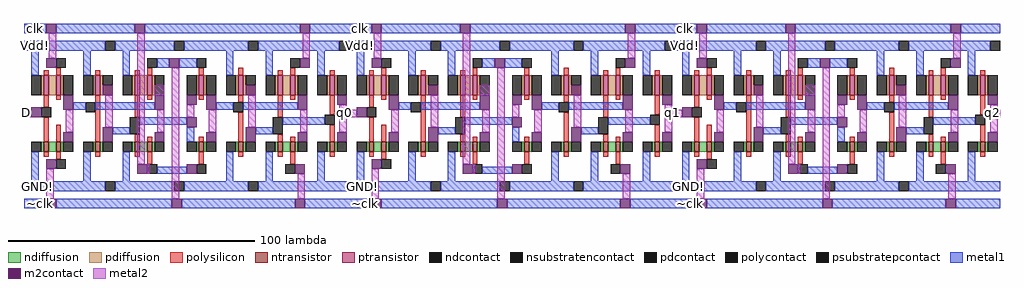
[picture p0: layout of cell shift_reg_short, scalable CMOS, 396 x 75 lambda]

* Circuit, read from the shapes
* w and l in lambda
.subckt shift_reg_short D GND! Vdd! clk q0 q1 q2 ~clk
M1 n1 D GND! GND! nfet w=4 l=2
M2 n2 ~clk n1 GND! nfet w=4 l=2
M3 n3 n2 GND! GND! nfet w=4 l=2
M4 n4 n3 GND! GND! nfet w=4 l=2
M5 n2 clk n4 GND! nfet w=4 l=2
M6 n5 clk n3 GND! nfet w=4 l=2
M7 n6 n5 GND! GND! nfet w=4 l=2
M8 n7 n6 GND! GND! nfet w=4 l=2
M9 n5 ~clk n7 GND! nfet w=4 l=2
M10 q0 n6 GND! GND! nfet w=4 l=2
M11 n8 q0 GND! GND! nfet w=4 l=2
M12 n9 ~clk n8 GND! nfet w=4 l=2
M13 n10 n9 GND! GND! nfet w=4 l=2
M14 n11 n10 GND! GND! nfet w=4 l=2
M15 n9 clk n11 GND! nfet w=4 l=2
M16 n12 clk n10 GND! nfet w=4 l=2
M17 n13 n12 GND! GND! nfet w=4 l=2
M18 n14 n13 GND! GND! nfet w=4 l=2
M19 n12 ~clk n14 GND! nfet w=4 l=2
M20 q1 n13 GND! GND! nfet w=4 l=2
M21 n15 q1 GND! GND! nfet w=4 l=2
M22 n16 ~clk n15 GND! nfet w=4 l=2
M23 n17 n16 GND! GND! nfet w=4 l=2
M24 n18 n17 GND! GND! nfet w=4 l=2
M25 n16 clk n18 GND! nfet w=4 l=2
M26 n19 clk n17 GND! nfet w=4 l=2
M27 n20 n19 GND! GND! nfet w=4 l=2
M28 n21 n20 GND! GND! nfet w=4 l=2
M29 n19 ~clk n21 GND! nfet w=4 l=2
M30 q2 n20 GND! GND! nfet w=4 l=2
M31 n22 D Vdd! Vdd! pfet w=8 l=2
M32 n2 clk n22 Vdd! pfet w=8 l=2
M33 n3 n2 Vdd! Vdd! pfet w=8 l=2
M34 n23 n3 Vdd! Vdd! pfet w=8 l=2
M35 n2 ~clk n23 Vdd! pfet w=8 l=2
M36 n5 ~clk n3 Vdd! pfet w=8 l=2
M37 n6 n5 Vdd! Vdd! pfet w=8 l=2
M38 n24 n6 Vdd! Vdd! pfet w=8 l=2
M39 n5 clk n24 Vdd! pfet w=8 l=2
M40 q0 n6 Vdd! Vdd! pfet w=8 l=2
M41 n25 q0 Vdd! Vdd! pfet w=8 l=2
M42 n9 clk n25 Vdd! pfet w=8 l=2
M43 n10 n9 Vdd! Vdd! pfet w=8 l=2
M44 n26 n10 Vdd! Vdd! pfet w=8 l=2
M45 n9 ~clk n26 Vdd! pfet w=8 l=2
M46 n12 ~clk n10 Vdd! pfet w=8 l=2
M47 n13 n12 Vdd! Vdd! pfet w=8 l=2
M48 n27 n13 Vdd! Vdd! pfet w=8 l=2
M49 n12 clk n27 Vdd! pfet w=8 l=2
M50 q1 n13 Vdd! Vdd! pfet w=8 l=2
M51 n28 q1 Vdd! Vdd! pfet w=8 l=2
M52 n16 clk n28 Vdd! pfet w=8 l=2
M53 n17 n16 Vdd! Vdd! pfet w=8 l=2
M54 n29 n17 Vdd! Vdd! pfet w=8 l=2
M55 n16 ~clk n29 Vdd! pfet w=8 l=2
M56 n19 ~clk n17 Vdd! pfet w=8 l=2
M57 n20 n19 Vdd! Vdd! pfet w=8 l=2
M58 n30 n20 Vdd! Vdd! pfet w=8 l=2
M59 n19 clk n30 Vdd! pfet w=8 l=2
M60 q2 n20 Vdd! Vdd! pfet w=8 l=2
.ends

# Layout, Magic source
magic
tech scmos
<< ntransistor >>
rect 101 191 103 195
rect 106 191 108 195
rect 122 191 124 195
rect 138 191 140 195
rect 143 191 145 195
rect 164 191 166 195
rect 180 191 182 195
rect 196 191 198 195
rect 201 191 203 195
rect 217 191 219 195
rect 233 191 235 195
rect 238 191 240 195
rect 254 191 256 195
rect 270 191 272 195
rect 275 191 277 195
rect 296 191 298 195
rect 312 191 314 195
rect 328 191 330 195
rect 333 191 335 195
rect 349 191 351 195
rect 365 191 367 195
rect 370 191 372 195
rect 386 191 388 195
rect 402 191 404 195
rect 407 191 409 195
rect 428 191 430 195
rect 444 191 446 195
rect 460 191 462 195
rect 465 191 467 195
rect 481 191 483 195
<< ptransistor >>
rect 101 214 103 222
rect 106 214 108 222
rect 122 214 124 222
rect 138 214 140 222
rect 143 214 145 222
rect 164 214 166 222
rect 180 214 182 222
rect 196 214 198 222
rect 201 214 203 222
rect 217 214 219 222
rect 233 214 235 222
rect 238 214 240 222
rect 254 214 256 222
rect 270 214 272 222
rect 275 214 277 222
rect 296 214 298 222
rect 312 214 314 222
rect 328 214 330 222
rect 333 214 335 222
rect 349 214 351 222
rect 365 214 367 222
rect 370 214 372 222
rect 386 214 388 222
rect 402 214 404 222
rect 407 214 409 222
rect 428 214 430 222
rect 444 214 446 222
rect 460 214 462 222
rect 465 214 467 222
rect 481 214 483 222
<< ndiffusion >>
rect 100 191 101 195
rect 103 191 106 195
rect 108 191 109 195
rect 121 191 122 195
rect 124 191 125 195
rect 137 191 138 195
rect 140 191 143 195
rect 145 191 146 195
rect 163 191 164 195
rect 166 191 167 195
rect 179 191 180 195
rect 182 191 183 195
rect 195 191 196 195
rect 198 191 201 195
rect 203 191 204 195
rect 216 191 217 195
rect 219 191 220 195
rect 232 191 233 195
rect 235 191 238 195
rect 240 191 241 195
rect 253 191 254 195
rect 256 191 257 195
rect 269 191 270 195
rect 272 191 275 195
rect 277 191 278 195
rect 295 191 296 195
rect 298 191 299 195
rect 311 191 312 195
rect 314 191 315 195
rect 327 191 328 195
rect 330 191 333 195
rect 335 191 336 195
rect 348 191 349 195
rect 351 191 352 195
rect 364 191 365 195
rect 367 191 370 195
rect 372 191 373 195
rect 385 191 386 195
rect 388 191 389 195
rect 401 191 402 195
rect 404 191 407 195
rect 409 191 410 195
rect 427 191 428 195
rect 430 191 431 195
rect 443 191 444 195
rect 446 191 447 195
rect 459 191 460 195
rect 462 191 465 195
rect 467 191 468 195
rect 480 191 481 195
rect 483 191 484 195
<< pdiffusion >>
rect 100 214 101 222
rect 103 214 106 222
rect 108 214 109 222
rect 121 214 122 222
rect 124 218 125 222
rect 124 214 129 218
rect 137 214 138 222
rect 140 214 143 222
rect 145 214 146 222
rect 163 214 164 222
rect 166 214 167 222
rect 179 214 180 222
rect 182 218 183 222
rect 182 214 187 218
rect 195 214 196 222
rect 198 214 201 222
rect 203 214 204 222
rect 216 214 217 222
rect 219 214 220 222
rect 232 214 233 222
rect 235 214 238 222
rect 240 214 241 222
rect 253 214 254 222
rect 256 218 257 222
rect 256 214 261 218
rect 269 214 270 222
rect 272 214 275 222
rect 277 214 278 222
rect 295 214 296 222
rect 298 214 299 222
rect 311 214 312 222
rect 314 218 315 222
rect 314 214 319 218
rect 327 214 328 222
rect 330 214 333 222
rect 335 214 336 222
rect 348 214 349 222
rect 351 214 352 222
rect 364 214 365 222
rect 367 214 370 222
rect 372 214 373 222
rect 385 214 386 222
rect 388 218 389 222
rect 388 214 393 218
rect 401 214 402 222
rect 404 214 407 222
rect 409 214 410 222
rect 427 214 428 222
rect 430 214 431 222
rect 443 214 444 222
rect 446 218 447 222
rect 446 214 451 218
rect 459 214 460 222
rect 462 214 465 222
rect 467 214 468 222
rect 480 214 481 222
rect 483 214 484 222
<< ndcontact >>
rect 96 191 100 195
rect 109 191 113 195
rect 117 191 121 195
rect 125 191 129 195
rect 133 191 137 195
rect 146 191 150 195
rect 159 191 163 195
rect 167 191 171 195
rect 175 191 179 195
rect 183 191 187 195
rect 191 191 195 195
rect 204 191 208 195
rect 212 191 216 195
rect 220 191 224 195
rect 228 191 232 195
rect 241 191 245 195
rect 249 191 253 195
rect 257 191 261 195
rect 265 191 269 195
rect 278 191 282 195
rect 291 191 295 195
rect 299 191 303 195
rect 307 191 311 195
rect 315 191 319 195
rect 323 191 327 195
rect 336 191 340 195
rect 344 191 348 195
rect 352 191 356 195
rect 360 191 364 195
rect 373 191 377 195
rect 381 191 385 195
rect 389 191 393 195
rect 397 191 401 195
rect 410 191 414 195
rect 423 191 427 195
rect 431 191 435 195
rect 439 191 443 195
rect 447 191 451 195
rect 455 191 459 195
rect 468 191 472 195
rect 476 191 480 195
rect 484 191 488 195
<< pdcontact >>
rect 96 214 100 222
rect 109 214 113 222
rect 117 214 121 222
rect 125 218 129 222
rect 133 214 137 222
rect 146 214 150 222
rect 159 214 163 222
rect 167 214 171 222
rect 175 214 179 222
rect 183 218 187 222
rect 191 214 195 222
rect 204 214 208 222
rect 212 214 216 222
rect 220 214 224 222
rect 228 214 232 222
rect 241 214 245 222
rect 249 214 253 222
rect 257 218 261 222
rect 265 214 269 222
rect 278 214 282 222
rect 291 214 295 222
rect 299 214 303 222
rect 307 214 311 222
rect 315 218 319 222
rect 323 214 327 222
rect 336 214 340 222
rect 344 214 348 222
rect 352 214 356 222
rect 360 214 364 222
rect 373 214 377 222
rect 381 214 385 222
rect 389 218 393 222
rect 397 214 401 222
rect 410 214 414 222
rect 423 214 427 222
rect 431 214 435 222
rect 439 214 443 222
rect 447 218 451 222
rect 455 214 459 222
rect 468 214 472 222
rect 476 214 480 222
rect 484 214 488 222
<< psubstratepcontact >>
rect 126 175 130 179
rect 154 175 158 179
rect 184 175 188 179
rect 258 175 262 179
rect 286 175 290 179
rect 316 175 320 179
rect 390 175 394 179
rect 418 175 422 179
rect 448 175 452 179
<< nsubstratencontact >>
rect 126 232 130 236
rect 154 232 158 236
rect 184 232 188 236
rect 221 232 225 236
rect 258 232 262 236
rect 286 232 290 236
rect 316 232 320 236
rect 353 232 357 236
rect 390 232 394 236
rect 418 232 422 236
rect 448 232 452 236
rect 485 232 489 236
<< polysilicon >>
rect 101 222 103 224
rect 106 222 108 225
rect 122 222 124 224
rect 138 222 140 224
rect 143 222 145 225
rect 164 222 166 225
rect 180 222 182 225
rect 196 222 198 224
rect 201 222 203 225
rect 217 222 219 224
rect 233 222 235 224
rect 238 222 240 225
rect 254 222 256 224
rect 270 222 272 224
rect 275 222 277 225
rect 296 222 298 225
rect 312 222 314 225
rect 328 222 330 224
rect 333 222 335 225
rect 349 222 351 224
rect 365 222 367 224
rect 370 222 372 225
rect 386 222 388 224
rect 402 222 404 224
rect 407 222 409 225
rect 428 222 430 225
rect 444 222 446 225
rect 460 222 462 224
rect 465 222 467 225
rect 481 222 483 224
rect 101 209 103 214
rect 106 212 108 214
rect 101 195 103 205
rect 106 195 108 202
rect 122 195 124 214
rect 138 205 140 214
rect 143 212 145 214
rect 164 212 166 214
rect 180 211 182 214
rect 138 195 140 198
rect 143 195 145 197
rect 164 195 166 197
rect 180 195 182 207
rect 196 205 198 214
rect 201 212 203 214
rect 217 206 219 214
rect 233 209 235 214
rect 238 212 240 214
rect 196 195 198 198
rect 201 195 203 197
rect 217 195 219 202
rect 233 195 235 205
rect 238 195 240 202
rect 254 195 256 214
rect 270 205 272 214
rect 275 212 277 214
rect 296 212 298 214
rect 312 211 314 214
rect 270 195 272 198
rect 275 195 277 197
rect 296 195 298 197
rect 312 195 314 207
rect 328 205 330 214
rect 333 212 335 214
rect 349 206 351 214
rect 365 209 367 214
rect 370 212 372 214
rect 328 195 330 198
rect 333 195 335 197
rect 349 195 351 202
rect 365 195 367 205
rect 370 195 372 202
rect 386 195 388 214
rect 402 205 404 214
rect 407 212 409 214
rect 428 212 430 214
rect 444 211 446 214
rect 402 195 404 198
rect 407 195 409 197
rect 428 195 430 197
rect 444 195 446 207
rect 460 205 462 214
rect 465 212 467 214
rect 481 206 483 214
rect 460 195 462 198
rect 465 195 467 197
rect 481 195 483 202
rect 101 189 103 191
rect 106 188 108 191
rect 122 189 124 191
rect 138 189 140 191
rect 143 186 145 191
rect 164 186 166 191
rect 180 189 182 191
rect 196 189 198 191
rect 201 186 203 191
rect 217 189 219 191
rect 233 189 235 191
rect 238 188 240 191
rect 254 189 256 191
rect 270 189 272 191
rect 275 186 277 191
rect 296 186 298 191
rect 312 189 314 191
rect 328 189 330 191
rect 333 186 335 191
rect 349 189 351 191
rect 365 189 367 191
rect 370 188 372 191
rect 386 189 388 191
rect 402 189 404 191
rect 407 186 409 191
rect 428 186 430 191
rect 444 189 446 191
rect 460 189 462 191
rect 465 186 467 191
rect 481 189 483 191
<< polycontact >>
rect 106 225 110 229
rect 143 225 147 229
rect 163 225 167 229
rect 201 225 205 229
rect 238 225 242 229
rect 275 225 279 229
rect 295 225 299 229
rect 333 225 337 229
rect 370 225 374 229
rect 407 225 411 229
rect 427 225 431 229
rect 465 225 469 229
rect 100 205 104 209
rect 118 207 122 211
rect 178 207 182 211
rect 136 198 140 205
rect 194 198 198 205
rect 215 202 219 206
rect 232 205 236 209
rect 250 207 254 211
rect 310 207 314 211
rect 268 198 272 205
rect 326 198 330 205
rect 347 202 351 206
rect 364 205 368 209
rect 382 207 386 211
rect 442 207 446 211
rect 400 198 404 205
rect 458 198 462 205
rect 479 202 483 206
rect 106 184 110 188
rect 143 182 147 186
rect 163 182 167 186
rect 199 182 203 186
rect 238 184 242 188
rect 275 182 279 186
rect 295 182 299 186
rect 331 182 335 186
rect 370 184 374 188
rect 407 182 411 186
rect 427 182 431 186
rect 463 182 467 186
<< metal1 >>
rect 93 239 102 243
rect 106 239 138 243
rect 142 239 205 243
rect 209 239 234 243
rect 238 239 270 243
rect 274 239 337 243
rect 341 239 366 243
rect 370 239 402 243
rect 406 239 469 243
rect 473 239 489 243
rect 93 232 126 236
rect 130 232 154 236
rect 158 232 184 236
rect 188 232 221 236
rect 225 232 258 236
rect 262 232 286 236
rect 290 232 316 236
rect 320 232 353 236
rect 357 232 390 236
rect 394 232 418 236
rect 422 232 448 236
rect 452 232 485 236
rect 96 222 99 232
rect 117 222 120 232
rect 133 222 136 232
rect 147 225 152 229
rect 156 225 163 229
rect 175 222 178 232
rect 191 222 194 232
rect 212 222 215 232
rect 228 222 231 232
rect 249 222 252 232
rect 265 222 268 232
rect 279 225 284 229
rect 288 225 295 229
rect 307 222 310 232
rect 323 222 326 232
rect 344 222 347 232
rect 360 222 363 232
rect 381 222 384 232
rect 397 222 400 232
rect 411 225 416 229
rect 420 225 427 229
rect 439 222 442 232
rect 455 222 458 232
rect 476 222 479 232
rect 113 208 118 211
rect 122 208 146 211
rect 171 208 178 211
rect 182 208 204 211
rect 129 198 136 201
rect 140 202 159 205
rect 159 195 162 201
rect 187 198 194 201
rect 198 202 215 205
rect 245 208 250 211
rect 254 208 278 211
rect 303 208 310 211
rect 314 208 336 211
rect 261 198 268 201
rect 272 202 291 205
rect 291 195 294 201
rect 319 198 326 201
rect 330 202 347 205
rect 377 208 382 211
rect 386 208 410 211
rect 435 208 442 211
rect 446 208 468 211
rect 393 198 400 201
rect 404 202 423 205
rect 423 195 426 201
rect 451 198 458 201
rect 462 202 479 205
rect 96 179 99 191
rect 117 179 120 191
rect 133 179 136 191
rect 147 182 159 185
rect 175 179 178 191
rect 191 179 194 191
rect 212 179 215 191
rect 228 179 231 191
rect 249 179 252 191
rect 265 179 268 191
rect 279 182 291 185
rect 307 179 310 191
rect 323 179 326 191
rect 344 179 347 191
rect 360 179 363 191
rect 381 179 384 191
rect 397 179 400 191
rect 411 182 423 185
rect 439 179 442 191
rect 455 179 458 191
rect 476 179 479 191
rect 93 175 126 179
rect 130 175 154 179
rect 158 175 184 179
rect 188 175 258 179
rect 262 175 286 179
rect 290 175 316 179
rect 320 175 390 179
rect 394 175 418 179
rect 422 175 448 179
rect 452 175 489 179
rect 93 168 102 172
rect 106 168 153 172
rect 157 168 203 172
rect 207 168 234 172
rect 238 168 285 172
rect 289 168 335 172
rect 339 168 366 172
rect 370 168 417 172
rect 421 168 467 172
rect 471 168 489 172
<< m2contact >>
rect 102 239 106 243
rect 138 239 142 243
rect 205 239 209 243
rect 234 239 238 243
rect 270 239 274 243
rect 337 239 341 243
rect 366 239 370 243
rect 402 239 406 243
rect 469 239 473 243
rect 102 225 106 229
rect 152 225 156 229
rect 205 225 209 229
rect 234 225 238 229
rect 284 225 288 229
rect 337 225 341 229
rect 366 225 370 229
rect 416 225 420 229
rect 469 225 473 229
rect 125 214 129 218
rect 96 205 100 209
rect 109 208 113 214
rect 146 208 150 214
rect 159 210 163 214
rect 183 214 187 218
rect 257 214 261 218
rect 167 208 171 214
rect 204 208 208 214
rect 220 210 224 214
rect 109 195 113 199
rect 125 195 129 201
rect 159 201 163 205
rect 146 195 150 199
rect 167 195 171 199
rect 183 195 187 201
rect 228 205 232 209
rect 241 208 245 214
rect 278 208 282 214
rect 291 210 295 214
rect 315 214 319 218
rect 389 214 393 218
rect 299 208 303 214
rect 336 208 340 214
rect 352 210 356 214
rect 204 195 208 199
rect 220 195 224 199
rect 241 195 245 199
rect 257 195 261 201
rect 291 201 295 205
rect 278 195 282 199
rect 299 195 303 199
rect 315 195 319 201
rect 360 205 364 209
rect 373 208 377 214
rect 410 208 414 214
rect 423 210 427 214
rect 447 214 451 218
rect 431 208 435 214
rect 468 208 472 214
rect 484 210 488 214
rect 336 195 340 199
rect 352 195 356 199
rect 373 195 377 199
rect 389 195 393 201
rect 423 201 427 205
rect 410 195 414 199
rect 431 195 435 199
rect 447 195 451 201
rect 468 195 472 199
rect 484 195 488 199
rect 102 184 106 188
rect 139 182 143 186
rect 159 182 163 186
rect 203 182 207 186
rect 234 184 238 188
rect 271 182 275 186
rect 291 182 295 186
rect 335 182 339 186
rect 366 184 370 188
rect 403 182 407 186
rect 423 182 427 186
rect 467 182 471 186
rect 102 168 106 172
rect 153 168 157 172
rect 203 168 207 172
rect 234 168 238 172
rect 285 168 289 172
rect 335 168 339 172
rect 366 168 370 172
rect 417 168 421 172
rect 467 168 471 172
<< metal2 >>
rect 103 229 106 239
rect 93 205 96 208
rect 110 199 113 208
rect 126 201 129 214
rect 139 186 142 239
rect 206 229 209 239
rect 235 229 238 239
rect 146 214 150 218
rect 147 199 150 208
rect 102 172 105 184
rect 143 182 144 186
rect 153 172 156 225
rect 159 205 162 210
rect 168 199 171 208
rect 184 201 187 214
rect 205 199 208 208
rect 221 208 224 210
rect 221 205 228 208
rect 221 199 224 205
rect 242 199 245 208
rect 258 201 261 214
rect 204 172 207 182
rect 271 186 274 239
rect 338 229 341 239
rect 367 229 370 239
rect 278 214 282 218
rect 279 199 282 208
rect 234 172 237 184
rect 275 182 276 186
rect 285 172 288 225
rect 291 205 294 210
rect 300 199 303 208
rect 316 201 319 214
rect 337 199 340 208
rect 353 208 356 210
rect 353 205 360 208
rect 353 199 356 205
rect 374 199 377 208
rect 390 201 393 214
rect 336 172 339 182
rect 403 186 406 239
rect 470 229 473 239
rect 410 214 414 218
rect 411 199 414 208
rect 366 172 369 184
rect 407 182 408 186
rect 417 172 420 225
rect 423 205 426 210
rect 432 199 435 208
rect 448 201 451 214
rect 469 199 472 208
rect 485 208 488 210
rect 485 205 489 208
rect 485 199 488 205
rect 468 172 471 182
<< labels >>
rlabel metal1 96 232 99 236 1 Vdd!
rlabel metal1 97 175 100 179 1 GND!
rlabel metal1 98 168 101 172 2 ~clk
rlabel metal1 96 239 99 243 4 clk
rlabel metal2 94 207 94 207 3 D
rlabel metal2 223 207 223 207 1 q0
rlabel metal1 228 232 231 236 1 Vdd!
rlabel metal1 229 175 232 179 1 GND!
rlabel metal1 230 168 233 172 2 ~clk
rlabel metal1 228 239 231 243 4 clk
rlabel metal1 360 232 363 236 1 Vdd!
rlabel metal1 361 175 364 179 1 GND!
rlabel metal1 362 168 365 172 2 ~clk
rlabel metal1 360 239 363 243 4 clk
rlabel metal2 356 207 356 207 1 q1
rlabel metal2 486 207 486 207 7 q2
<< end >>
